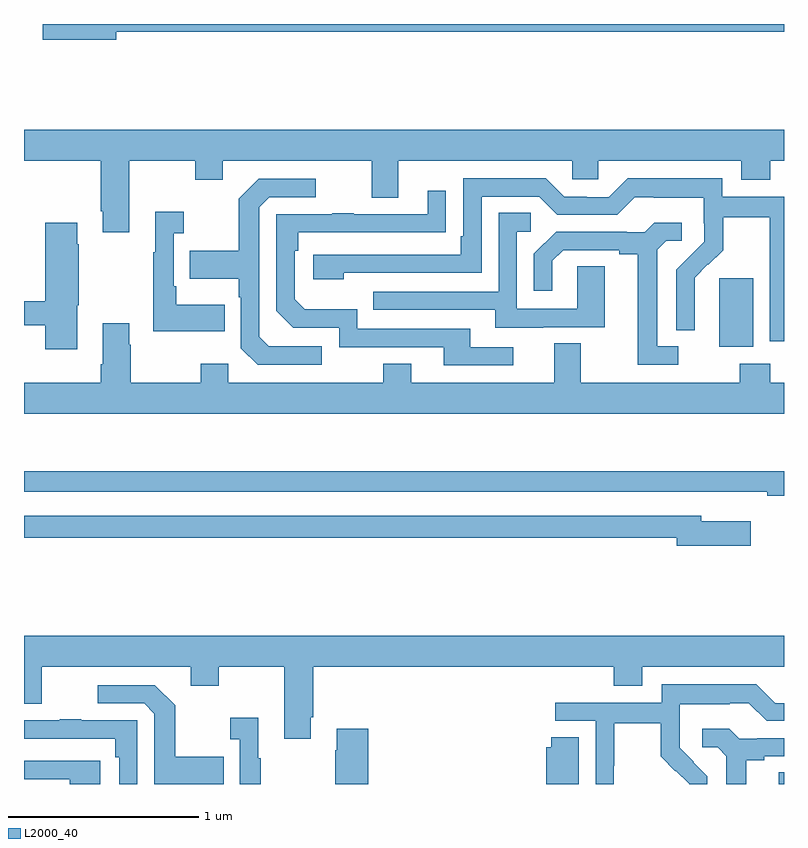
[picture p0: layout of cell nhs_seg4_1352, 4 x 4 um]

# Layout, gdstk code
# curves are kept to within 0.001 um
import gdstk
lib = gdstk.Library(unit=1e-6, precision=1e-09)
def R(c, l, rs):  # rectangles x0, y0, x1, y1
    for r in rs: c.add(gdstk.rectangle(r[:2], r[2:], *l))
def P(c, l, *ps):  # polygons
    for p in ps: c.add(gdstk.Polygon(p, *l))
L2000_40 = (2000, 40)

nhs_seg4_1352 = lib.new_cell('nhs_seg4_1352')
R(nhs_seg4_1352, L2000_40, [(184.973,766.9,185,766.961), (184.658,769.202,184.837,769.563)])
P(nhs_seg4_1352, L2000_40, [(181.486,770.86),(185,770.86),(185,770.9),(181.098,770.9),(181.098,770.818),(181.486,770.818)],
  [(181.555,770.18),(181.9,770.18),(181.9,770.081),(182.047,770.081),(182.047,770.18),(182.831,770.18),(182.831,769.986),(182.971,769.986),(182.971,770.18),(183.885,770.18),(183.885,770.082),(184.023,770.082),(184.023,770.18),(184.775,770.18),(184.775,770.081),(184.928,770.081),(184.928,770.18),(185,770.18),(185,770.344),(181,770.344),(181,770.18),(181.403,770.18),(181.403,769.915),(181.415,769.915),(181.415,769.803),(181.555,769.803)],
  [(185,769.992),(184.674,769.992),(184.674,770.089),(184.177,770.089),(184.077,769.989),(183.962,769.989),(183.962,769.992),(183.843,769.992),(183.747,770.088),(183.312,770.088),(183.312,769.783),(183.299,769.783),(183.299,769.686),(182.523,769.686),(182.523,769.556),(182.684,769.556),(182.684,769.59),(183.408,769.59),(183.408,769.992),(183.711,769.992),(183.807,769.896),(184.122,769.896),(184.215,769.989),(184.315,769.989),(184.315,769.985),(184.578,769.985),(184.578,769.851),(184.58,769.851),(184.58,769.754),(184.434,769.606),(184.434,769.288),(184.53,769.288),(184.529,769.565),(184.599,769.635),(184.602,769.632),(184.679,769.709),(184.679,769.884),(184.924,769.884),(184.924,769.66),(184.926,769.66),(184.926,769.231),(185,769.231)],
  [(182.566,769.203),(182.289,769.203),(182.238,769.254),(182.238,769.935),(182.292,769.989),(182.536,769.989),(182.536,770.085),(182.235,770.085),(182.13,769.979),(182.13,769.707),(181.873,769.707),(181.873,769.559),(182.13,769.559),(182.13,769.463),(182.142,769.463),(182.142,769.194),(182.229,769.107),(182.566,769.107)],
  [(183.574,769.2),(183.349,769.2),(183.349,769.296),(182.754,769.296),(182.754,769.399),(182.477,769.399),(182.424,769.452),(182.424,769.706),(182.444,769.706),(182.444,769.803),(183.221,769.804),(183.221,770.023),(183.125,770.023),(183.125,769.899),(182.735,769.899),(182.735,769.904),(182.623,769.904),(182.623,769.899),(182.328,769.899),(182.328,769.392),(182.418,769.302),(182.658,769.302),(182.658,769.2),(183.209,769.2),(183.209,769.104),(183.574,769.104)],
  [(182.057,769.423),(181.801,769.423),(181.801,769.519),(181.788,769.519),(181.788,769.799),(181.84,769.799),(181.84,769.912),(181.691,769.912),(181.691,769.699),(181.68,769.699),(181.68,769.283),(182.057,769.283)],
  [(183.733,769.305),(184.057,769.305),(184.057,769.625),(183.912,769.625),(183.912,769.401),(183.594,769.401),(183.594,769.806),(183.667,769.806),(183.667,769.907),(183.498,769.907),(183.498,769.491),(182.839,769.491),(182.839,769.395),(183.479,769.395),(183.479,769.301),(183.733,769.301)],
  [(181.279,769.419),(181.287,769.419),(181.287,769.742),(181.279,769.742),(181.279,769.855),(181.112,769.855),(181.112,769.442),(181,769.442),(181,769.314),(181.112,769.314),(181.112,769.188),(181.279,769.188)],
  [(184.444,769.203),(184.333,769.203),(184.333,769.711),(184.38,769.758),(184.462,769.758),(184.462,769.855),(184.318,769.855),(184.266,769.803),(184.172,769.803),(184.172,769.806),(183.8,769.806),(183.684,769.69),(183.684,769.497),(183.781,769.497),(183.781,769.653),(183.838,769.71),(184.133,769.71),(184.133,769.688),(184.229,769.688),(184.229,769.107),(184.444,769.107)],
  [(185,769.012),(184.928,769.012),(184.928,769.111),(184.768,769.111),(184.768,769.012),(183.931,769.012),(183.931,769.22),(183.791,769.22),(183.791,769.012),(183.037,769.012),(183.037,769.111),(182.89,769.111),(182.89,769.012),(182.076,769.012),(182.076,769.111),(181.93,769.111),(181.93,769.012),(181.563,769.012),(181.563,769.211),(181.555,769.211),(181.555,769.324),(181.415,769.324),(181.415,769.108),(181.403,769.108),(181.403,769.012),(181,769.012),(181,768.848),(185,768.848)],
  [(185,768.547),(181,768.547),(181,768.438),(184.66,768.438),(184.66,768.437),(184.912,768.437),(184.912,768.418),(185,768.418)],
  [(184.825,768.283),(184.564,768.283),(184.564,768.312),(181,768.312),(181,768.196),(184.436,768.196),(184.436,768.154),(184.825,768.154)],
  [(182.509,767.251),(182.522,767.251),(182.522,767.516),(184.103,767.516),(184.103,767.417),(184.255,767.417),(184.255,767.516),(185,767.516),(185,767.68),(181,767.68),(181,767.322),(181.093,767.322),(181.093,767.516),(181.877,767.516),(181.877,767.417),(182.025,767.417),(182.025,767.516),(182.369,767.516),(182.369,767.139),(182.509,767.139)],
  [(184.104,766.996),(184.107,766.996),(184.107,767.22),(184.351,767.22),(184.351,767.045),(184.428,766.968),(184.431,766.971),(184.502,766.9),(184.596,766.9),(184.596,766.942),(184.45,767.09),(184.45,767.187),(184.452,767.187),(184.452,767.321),(184.715,767.321),(184.715,767.325),(184.815,767.325),(184.908,767.232),(185,767.232),(185,767.325),(184.953,767.325),(184.853,767.425),(184.356,767.425),(184.356,767.328),(183.795,767.328),(183.795,767.232),(184.008,767.232),(184.008,766.9),(184.104,766.9)],
  [(182.051,767.043),(181.795,767.043),(181.795,767.315),(181.689,767.421),(181.389,767.421),(181.389,767.325),(181.632,767.325),(181.686,767.271),(181.686,766.9),(182.051,766.9)],
  [(182.245,767.035),(182.233,767.035),(182.233,767.248),(182.085,767.248),(182.085,767.135),(182.136,767.135),(182.136,766.9),(182.245,766.9)],
  [(181.596,767.235),(181.301,767.235),(181.301,767.24),(181.189,767.24),(181.189,767.235),(181,767.235),(181,767.139),(181.48,767.139),(181.48,767.042),(181.5,767.042),(181.5,766.9),(181.596,766.9)],
  [(182.813,767.191),(182.645,767.191),(182.645,767.078),(182.638,767.078),(182.638,766.9),(182.813,766.9)],
  [(184.801,767.024),(184.897,767.024),(184.897,767.046),(185,767.046),(185,767.142),(184.858,767.142),(184.858,767.139),(184.764,767.139),(184.712,767.191),(184.569,767.191),(184.569,767.094),(184.65,767.094),(184.697,767.047),(184.697,766.9),(184.801,766.9)],
  [(183.919,767.147),(183.776,767.147),(183.776,767.094),(183.749,767.094),(183.749,766.9),(183.919,766.9)],
  [(181.402,767.022),(181,767.022),(181,766.926),(181.241,766.926),(181.241,766.9),(181.402,766.9)])

lib.write_gds('nhs_seg4_1352.gds')
